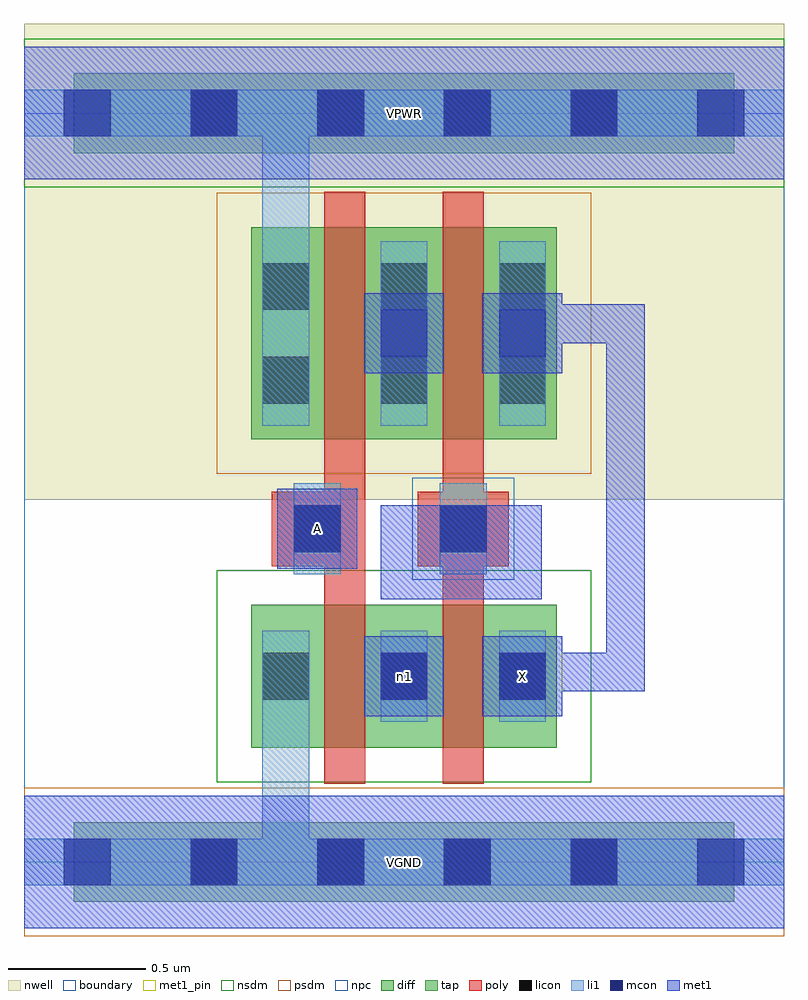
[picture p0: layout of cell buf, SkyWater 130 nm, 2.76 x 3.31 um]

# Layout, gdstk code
import gdstk
lib = gdstk.Library(unit=1e-6, precision=1e-09)
def R(c, l, rs):  # rectangles x0, y0, x1, y1
    for r in rs: c.add(gdstk.rectangle(r[:2], r[2:], *l))
def A(c, l, x, y, w, h, nx, ny, dx, dy):  # array of equal rectangles
    R(c, l, [(x+i*dx, y+j*dy, x+i*dx+w, y+j*dy+h) for i in range(nx) for j in range(ny)])
nwell = (64, 20)
diff = (65, 20)
tap = (65, 44)
poly = (66, 20)
licon = (66, 44)
li1 = (67, 20)
mcon = (67, 44)
met1_pin = (68, 16)
met1 = (68, 20)
nsdm = (93, 44)
psdm = (94, 20)
npc = (95, 20)
boundary = (235, 4)

buf = lib.new_cell('buf')
R(buf, nwell, [(0,1.315,2.76,3.045)])
R(buf, diff, [(0.825,0.415,1.935,0.935), (0.825,1.535,1.935,2.305)])
R(buf, tap, [(0.18,-0.145,2.58,0.145), (0.18,2.575,2.58,2.865)])
R(buf, poly, [(1.09,0.285,1.24,2.435), (1.52,0.285,1.67,2.435), (0.9,1.075,1.23,1.345), (1.43,1.075,1.76,1.345)])
A(buf, licon, 0.605, -0.085, 0.17, 0.17, 4, 2, 0.46, 2.72)
A(buf, licon, 0.865, 0.59, 0.17, 0.17, 3, 2, 0.43, 1.075)
A(buf, licon, 0.865, 2.005, 0.17, 0.17, 3, 1, 0.43, 0)
R(buf, licon, [(0.98,1.125,1.15,1.295), (1.51,1.125,1.68,1.295)])
A(buf, li1, 0.865, 0.51, 0.17, 0.33, 3, 1, 0.43, 0)
A(buf, li1, 0.865, 1.585, 0.17, 0.67, 3, 1, 0.43, 0)
R(buf, li1, [(0,-0.085,2.76,0.085), (0.865,-0.085,1.035,0.84), (0.98,1.045,1.15,1.375), (1.51,1.045,1.68,1.375), (0.865,1.585,1.035,2.805), (0,2.635,2.76,2.805)])
A(buf, mcon, 0.145, -0.085, 0.17, 0.17, 6, 2, 0.46, 2.72)
R(buf, mcon, [(1.295,0.59,1.465,0.76), (1.725,0.59,1.895,0.76), (0.98,1.125,1.15,1.295), (1.51,1.125,1.68,1.295), (1.295,1.835,1.465,2.005), (1.725,1.835,1.895,2.005)])
R(buf, met1_pin, [(0,-0.24,2.76,0.24), (1.665,0.53,1.955,0.82), (0.92,1.065,1.21,1.355), (0,2.48,2.76,2.96)])
R(buf, met1, [(0,-0.24,2.76,0.24), (1.235,0.53,1.525,0.82), (1.665,0.53,1.955,0.82), (1.77,0.62,1.91,0.76), (1.77,0.62,2.255,0.76), (2.115,0.62,2.255,2.025), (1.295,0.955,1.88,1.295), (0.92,1.065,1.21,1.355), (1.235,1.775,1.525,2.065), (1.665,1.775,1.955,2.065), (1.77,1.885,1.91,2.025), (1.77,1.885,2.255,2.025), (0,2.48,2.76,2.96)])
R(buf, nsdm, [(0.7,0.29,2.06,1.06), (0,2.45,2.76,2.99)])
R(buf, psdm, [(0,-0.27,2.76,0.27), (0.7,1.41,2.06,2.43)])
R(buf, npc, [(1.41,1.025,1.78,1.395)])
R(buf, boundary, [(0,0,2.76,2.72)])
buf.add(gdstk.Label('n1', (1.38,0.675), layer=67, texttype=5))
buf.add(gdstk.Label('A', (1.065,1.21), layer=68, texttype=5))
buf.add(gdstk.Label('X', (1.81,0.675), layer=68, texttype=5))
buf.add(gdstk.Label('VPWR', (1.38,2.72), layer=68, texttype=5))
buf.add(gdstk.Label('VGND', (1.38,0), layer=68, texttype=5))
buf.add(gdstk.Label('A', (1.065,1.21), layer=68, texttype=16))
buf.add(gdstk.Label('X', (1.81,0.675), layer=68, texttype=16))
buf.add(gdstk.Label('VPWR', (1.38,2.72), layer=68, texttype=16))
buf.add(gdstk.Label('VGND', (1.38,0), layer=68, texttype=16))

lib.write_gds('buf.gds')
